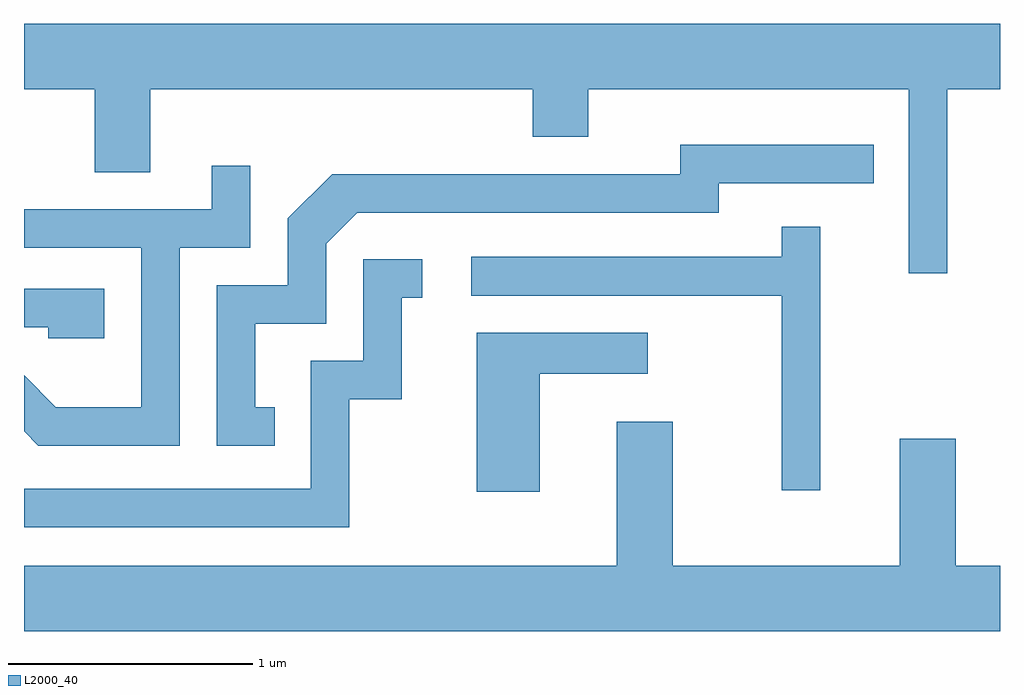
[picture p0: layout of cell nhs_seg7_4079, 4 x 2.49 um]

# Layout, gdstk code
import gdstk
lib = gdstk.Library(unit=1e-6, precision=1e-09)
def P(c, l, *ps):  # polygons
    for p in ps: c.add(gdstk.Polygon(p, *l))
L2000_40 = (2000, 40)

nhs_seg7_4079 = lib.new_cell('nhs_seg7_4079')
P(nhs_seg7_4079, L2000_40, [(313.394,1745.396),(313.611,1745.396),(313.611,1745.664),(309.611,1745.664),(309.611,1745.396),(309.901,1745.396),(309.901,1745.056),(310.129,1745.056),(310.129,1745.396),(311.696,1745.396),(311.696,1745.201),(311.924,1745.201),(311.924,1745.396),(313.236,1745.396),(313.236,1744.643),(313.394,1744.643)],
  [(310.638,1744.094),(310.559,1744.094),(310.559,1744.436),(310.849,1744.436),(310.849,1744.764),(310.977,1744.891),(312.459,1744.891),(312.459,1745.011),(313.093,1745.011),(313.093,1745.169),(312.301,1745.169),(312.301,1745.049),(310.874,1745.049),(310.691,1744.867),(310.691,1744.594),(310.401,1744.594),(310.401,1743.936),(310.638,1743.936)],
  [(310.249,1744.746),(310.539,1744.746),(310.539,1745.083),(310.381,1745.083),(310.381,1744.904),(309.611,1744.904),(309.611,1744.746),(310.091,1744.746),(310.091,1744.094),(309.742,1744.094),(309.611,1744.225),(309.611,1743.994),(309.669,1743.936),(310.249,1743.936)],
  [(312.874,1744.833),(312.716,1744.833),(312.716,1744.709),(311.443,1744.709),(311.443,1744.551),(312.716,1744.551),(312.716,1743.753),(312.874,1743.753)],
  [(310.944,1744.126),(311.159,1744.126),(311.159,1744.541),(311.243,1744.541),(311.243,1744.699),(311.001,1744.699),(311.001,1744.284),(310.786,1744.284),(310.786,1743.759),(309.611,1743.759),(309.611,1743.601),(310.944,1743.601)],
  [(309.939,1744.579),(309.611,1744.579),(309.611,1744.421),(309.711,1744.421),(309.711,1744.376),(309.939,1744.376)],
  [(311.724,1744.231),(312.168,1744.231),(312.168,1744.399),(311.466,1744.399),(311.466,1743.746),(311.724,1743.746)],
  [(313.611,1743.444),(313.429,1743.444),(313.429,1743.964),(313.201,1743.964),(313.201,1743.444),(312.269,1743.444),(312.269,1744.034),(312.041,1744.034),(312.041,1743.444),(309.611,1743.444),(309.611,1743.176),(313.611,1743.176)])

lib.write_gds('nhs_seg7_4079.gds')
